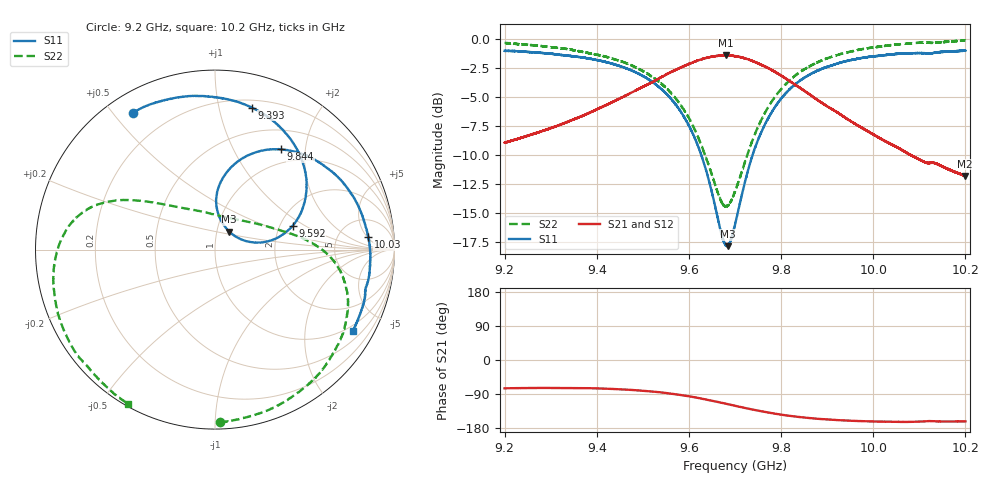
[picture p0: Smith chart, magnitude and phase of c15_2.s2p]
!Agilent Technologies,N5242A,MY51221714,A.09.90.19
!Agilent N5242A: A.09.90.19
!Date: Saturday, March 16, 2024 10:30:06
!Correction: S11(Full 2 Port(1,2))
!S21(Full 2 Port(1,2))
!S12(Full 2 Port(1,2))
!S22(Full 2 Port(1,2))
!S2P File: Measurements: S11, S21, S12, S22:
# Hz S  dB  R 50
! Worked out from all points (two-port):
!   16001 points, 9.2 GHz to 10.2 GHz, reference 50 ohm
!   highest |S21| = -1.40 dB at 9.681 GHz (marker M1); lowest = -11.8 dB at 10.2 GHz (marker M2)
!   |S21| within 3 dB of the highest: 9.486 GHz to 9.848 GHz (362.1 MHz wide, 3.75 % of centre); 9.848436 GHz to 9.848439 GHz (3.534 kHz wide, 3.59e-05 % of centre)
!   lowest |S11| = -17.9 dB at 9.684 GHz (marker M3), VSWR 1.29, Z = 57.4 + j11.6 ohm
!   |S11| at or under -10 dB: 9.627 GHz to 9.738 GHz (111.4 MHz wide, 1.15 % of centre)
!   |S22| runs from -14.5 to -0.1 dB; largest |S21 - S12| = 0.011
!   S11 on the Smith chart (normalised r, x): 9.2 GHz: 0.08, +0.56; 9.393 GHz: 0.26, +1.26; 9.592 GHz: 2.34, +0.78; 9.844 GHz: 0.78, +1.57; 10.03 GHz: 10, +5; 10.2 GHz: 0.79, -3.49
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9.2e9  -1.02 121.1  -8.95 -74.8  -8.95 -75.3  -0.33 -88.4
9.277562e9  -1.18 103.4  -7.99 -73.8  -7.99 -74.3  -0.60 -67.0
9.366688e9  -1.58 82.2  -6.67 -74.2  -6.65 -74.7  -1.08 -43.4
9.392688e9  -1.75 75.5  -6.22 -74.7  -6.20 -75.3  -1.29 -36.7
9.463812e9  -2.53 56.1  -4.86 -78.2  -4.86 -78.7  -2.09 -19.9
9.533375e9  -4.08 35.3  -3.43 -84.7  -3.43 -85.2  -3.63 -4.9
9.591688e9  -6.87 17.1  -2.30 -94.2  -2.28 -94.7  -6.26 7.8
9.637625e9  -11.37 8.6  -1.63 -104.3  -1.63 -104.9  -10.31 26.0
9.680625e9  -17.84 44.0  -1.40 -115.5  -1.40 -116.0  -14.46 77.1
9.684438e9  -17.89 51.4  -1.42 -116.5  -1.40 -117.0  -14.36 83.8
9.7e9  -16.04 75.7  -1.47 -120.7  -1.45 -121.3  -13.18 107.1
9.731e9  -10.94 88.5  -1.78 -129.0  -1.77 -129.6  -9.51 133.8
9.75775e9  -7.98 83.9  -2.23 -135.3  -2.22 -136.0  -6.93 143.9
9.801688e9  -5.07 70.6  -3.19 -144.4  -3.20 -145.0  -4.25 153.5
9.844312e9  -3.49 56.6  -4.29 -151.1  -4.30 -151.6  -2.75 160.9
9.866688e9  -2.97 49.6  -4.92 -153.9  -4.91 -154.5  -2.25 164.9
9.950438e9  -1.82 25.6  -7.07 -160.4  -7.08 -160.8  -1.08 -178.7
1.003338e10  -1.35 5.0  -8.98 -162.8  -8.97 -163.4  -0.54 -160.1
1.003494e10  -1.34 4.6  -9.01 -162.8  -9.00 -163.4  -0.54 -159.8
1.01105e10  -1.21 -12.5  -10.61 -162.2  -10.60 -162.7  -0.30 -142.1
1.019969e10  -1.01 -30.5  -11.83 -161.9  -11.81 -162.6  -0.12 -119.4
1.02e10  -1.00 -30.6  -11.82 -162.0  -11.82 -162.6  -0.12 -119.3
